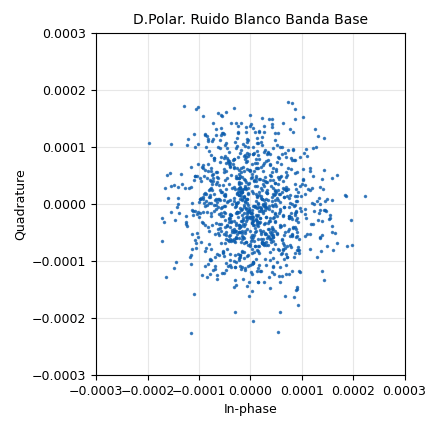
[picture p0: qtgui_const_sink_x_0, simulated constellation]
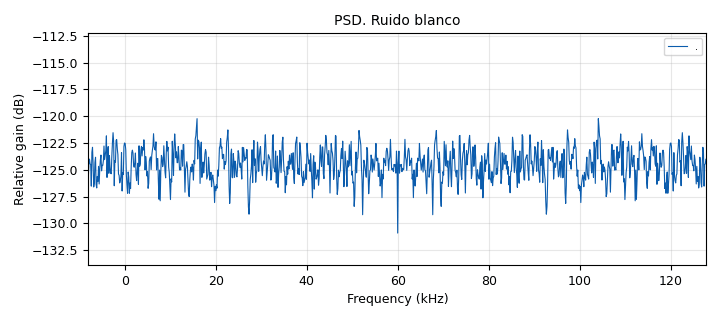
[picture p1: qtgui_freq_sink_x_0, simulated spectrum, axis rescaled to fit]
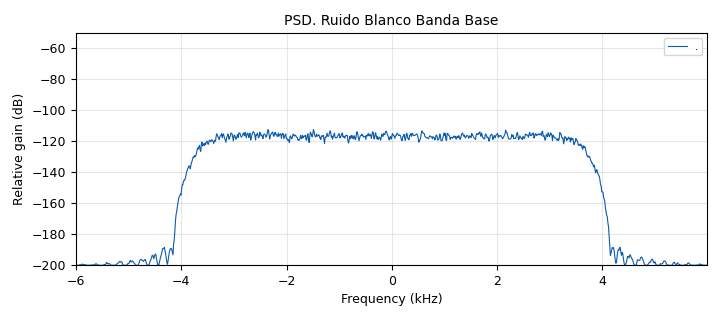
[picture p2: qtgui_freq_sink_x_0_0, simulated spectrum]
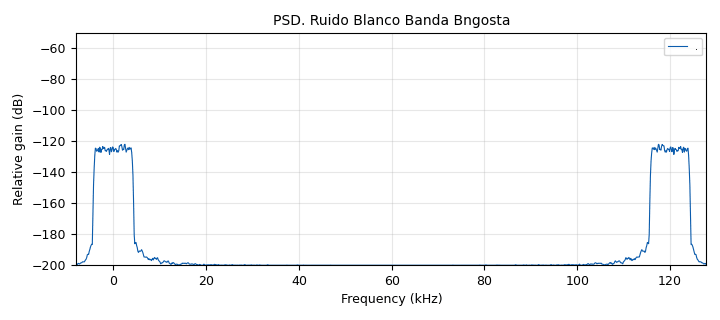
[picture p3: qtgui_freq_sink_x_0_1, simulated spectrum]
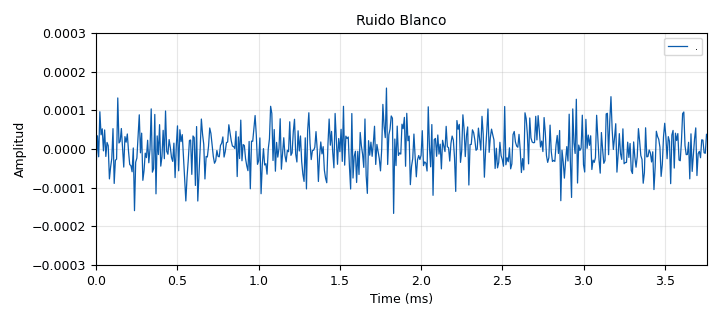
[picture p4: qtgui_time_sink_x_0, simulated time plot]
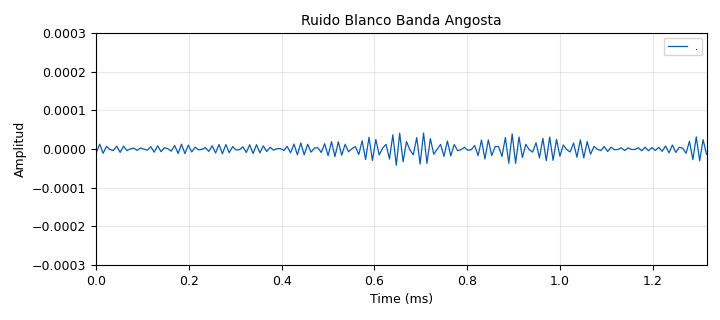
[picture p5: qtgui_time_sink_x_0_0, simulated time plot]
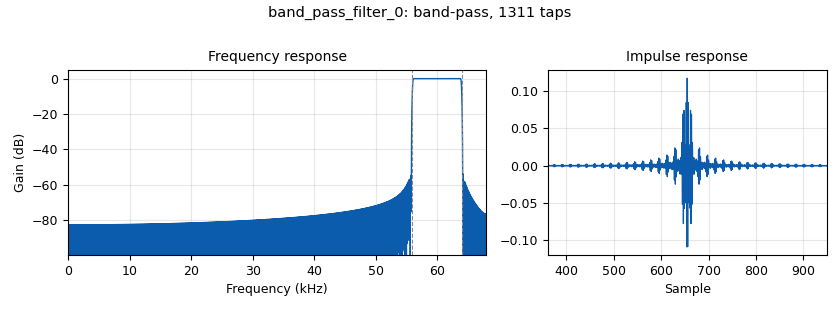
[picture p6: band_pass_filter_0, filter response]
<?xml version='1.0' encoding='utf-8'?>
<?grc format='1' created='3.7.9'?>
<flow_graph>
<block>
<key>options</key>
<param><key>id</key><value>top_block</value></param>
<param><key>category</key><value>Custom</value></param>
<param><key>generate_options</key><value>qt_gui</value></param>
</block>
<block>
<key>variable</key>
<param><key>id</key><value>B</value></param>
<param><key>value</key><value>8000</value></param>
</block>
<block>
<key>variable</key>
<param><key>id</key><value>BW</value></param>
<param><key>value</key><value>B/2</value></param>
</block>
<block>
<key>variable</key>
<param><key>id</key><value>Fc</value></param>
<param><key>value</key><value>60000</value></param>
</block>
<block>
<key>variable</key>
<param><key>id</key><value>Fmax</value></param>
<param><key>value</key><value>Fc+B</value></param>
</block>
<block>
<key>variable</key>
<param><key>id</key><value>Fs</value></param>
<param><key>value</key><value>2*BW</value></param>
</block>
<block>
<key>variable</key>
<param><key>id</key><value>Fs2</value></param>
<param><key>value</key><value>int(Fs*1.5)</value></param>
</block>
<block>
<key>variable</key>
<param><key>id</key><value>Fs_ruido_blanco</value></param>
<param><key>value</key><value>2*Fmax</value></param>
</block>
<block>
<key>variable</key>
<param><key>id</key><value>N</value></param>
<param><key>value</key><value>1024</value></param>
</block>
<block>
<key>variable</key>
<param><key>id</key><value>No</value></param>
<param><key>value</key><value>math.pow(10,No_dB/10.)</value></param>
</block>
<block>
<key>variable</key>
<param><key>id</key><value>No_dB</value></param>
<param><key>value</key><value>-40</value></param>
</block>
<block>
<key>analog_noise_source_x</key>
<param><key>id</key><value>analog_noise_source_x_0</value></param>
<param><key>amp</key><value>No</value></param>
<param><key>noise_type</key><value>analog.GR_GAUSSIAN</value></param>
<param><key>type</key><value>complex</value></param>
<param><key>seed</key><value>0</value></param>
</block>
<block>
<key>analog_noise_source_x</key>
<param><key>id</key><value>analog_noise_source_x_0_0</value></param>
<param><key>amp</key><value>No/2.</value></param>
<param><key>noise_type</key><value>analog.GR_GAUSSIAN</value></param>
<param><key>type</key><value>float</value></param>
<param><key>seed</key><value>0</value></param>
</block>
<block>
<key>band_pass_filter</key>
<param><key>id</key><value>band_pass_filter_0</value></param>
<param><key>decim</key><value>1</value></param>
<param><key>type</key><value>fir_filter_fff</value></param>
<param><key>gain</key><value>1</value></param>
<param><key>high_cutoff_freq</key><value>Fc+BW</value></param>
<param><key>low_cutoff_freq</key><value>Fc-BW</value></param>
<param><key>samp_rate</key><value>Fs_ruido_blanco</value></param>
<param><key>width</key><value>BW/16</value></param>
<param><key>win</key><value>firdes.WIN_HAMMING</value></param>
</block>
<block>
<key>import</key>
<param><key>id</key><value>import_0</value></param>
<param><key>import</key><value>import math</value></param>
</block>
<block>
<key>qtgui_const_sink_x</key>
<param><key>id</key><value>qtgui_const_sink_x_0</value></param>
<param><key>gui_hint</key><value>2,1,1,1</value></param>
<param><key>legend</key><value>False</value></param>
<param><key>label1</key><value>.</value></param>
<param><key>name</key><value>"D.Polar. Ruido Blanco Banda Base"</value></param>
<param><key>size</key><value>1024</value></param>
<param><key>type</key><value>complex</value></param>
<param><key>xmax</key><value>0.0003</value></param>
<param><key>xmin</key><value>-0.0003</value></param>
<param><key>ymax</key><value>0.0003</value></param>
<param><key>ymin</key><value>-0.0003</value></param>
</block>
<block>
<key>qtgui_freq_sink_x</key>
<param><key>id</key><value>qtgui_freq_sink_x_0</value></param>
<param><key>average</key><value>0.05</value></param>
<param><key>bw</key><value>Fs_ruido_blanco</value></param>
<param><key>fc</key><value>Fc</value></param>
<param><key>fftsize</key><value>N</value></param>
<param><key>gui_hint</key><value>0,0,1,1</value></param>
<param><key>label1</key><value>.</value></param>
<param><key>width1</key><value>2</value></param>
<param><key>name</key><value>"PSD. Ruido blanco"</value></param>
<param><key>showports</key><value>True</value></param>
<param><key>type</key><value>float</value></param>
<param><key>wintype</key><value>firdes.WIN_BLACKMAN_hARRIS</value></param>
<param><key>ymax</key><value>-50</value></param>
<param><key>ymin</key><value>-200</value></param>
</block>
<block>
<key>qtgui_freq_sink_x</key>
<param><key>id</key><value>qtgui_freq_sink_x_0_0</value></param>
<param><key>average</key><value>0.05</value></param>
<param><key>bw</key><value>Fs2</value></param>
<param><key>fc</key><value>0</value></param>
<param><key>fftsize</key><value>N</value></param>
<param><key>gui_hint</key><value>2,0,1,1</value></param>
<param><key>label1</key><value>.</value></param>
<param><key>width1</key><value>2</value></param>
<param><key>name</key><value>"PSD. Ruido Blanco Banda Base"</value></param>
<param><key>showports</key><value>True</value></param>
<param><key>type</key><value>complex</value></param>
<param><key>wintype</key><value>firdes.WIN_BLACKMAN_hARRIS</value></param>
<param><key>ymax</key><value>-50</value></param>
<param><key>ymin</key><value>-200</value></param>
</block>
<block>
<key>qtgui_freq_sink_x</key>
<param><key>id</key><value>qtgui_freq_sink_x_0_1</value></param>
<param><key>average</key><value>0.05</value></param>
<param><key>bw</key><value>Fs_ruido_blanco</value></param>
<param><key>fc</key><value>Fc</value></param>
<param><key>fftsize</key><value>N</value></param>
<param><key>gui_hint</key><value>1,0,1,1</value></param>
<param><key>label1</key><value>.</value></param>
<param><key>width1</key><value>2</value></param>
<param><key>name</key><value>"PSD. Ruido Blanco Banda Bngosta"</value></param>
<param><key>showports</key><value>True</value></param>
<param><key>type</key><value>float</value></param>
<param><key>wintype</key><value>firdes.WIN_BLACKMAN_hARRIS</value></param>
<param><key>ymax</key><value>-50</value></param>
<param><key>ymin</key><value>-200</value></param>
</block>
<block>
<key>qtgui_time_sink_x</key>
<param><key>id</key><value>qtgui_time_sink_x_0</value></param>
<param><key>gui_hint</key><value>0,1,1,1</value></param>
<param><key>color1</key><value>"blue"</value></param>
<param><key>label1</key><value>.</value></param>
<param><key>width1</key><value>2</value></param>
<param><key>name</key><value>"Ruido Blanco"</value></param>
<param><key>size</key><value>512</value></param>
<param><key>srate</key><value>Fs_ruido_blanco</value></param>
<param><key>type</key><value>float</value></param>
<param><key>ylabel</key><value>Amplitud</value></param>
<param><key>ymax</key><value>0.0003</value></param>
<param><key>ymin</key><value>-0.0003</value></param>
</block>
<block>
<key>qtgui_time_sink_x</key>
<param><key>id</key><value>qtgui_time_sink_x_0_0</value></param>
<param><key>gui_hint</key><value>1,1,1,1</value></param>
<param><key>color1</key><value>"blue"</value></param>
<param><key>label1</key><value>.</value></param>
<param><key>width1</key><value>2</value></param>
<param><key>name</key><value>"Ruido Blanco Banda Angosta"</value></param>
<param><key>size</key><value>180</value></param>
<param><key>srate</key><value>Fs_ruido_blanco</value></param>
<param><key>type</key><value>float</value></param>
<param><key>ylabel</key><value>Amplitud</value></param>
<param><key>ymax</key><value>0.0003</value></param>
<param><key>ymin</key><value>-0.0003</value></param>
</block>
<block>
<key>rational_resampler_xxx</key>
<param><key>id</key><value>rational_resampler_xxx_0</value></param>
<param><key>decim</key><value>Fs</value></param>
<param><key>interp</key><value>Fs2</value></param>
<param><key>taps</key><value></value></param>
<param><key>type</key><value>ccc</value></param>
</block>
<connection><source_block_id>analog_noise_source_x_0</source_block_id><sink_block_id>rational_resampler_xxx_0</sink_block_id><source_key>0</source_key><sink_key>0</sink_key></connection>
<connection><source_block_id>analog_noise_source_x_0_0</source_block_id><sink_block_id>band_pass_filter_0</sink_block_id><source_key>0</source_key><sink_key>0</sink_key></connection>
<connection><source_block_id>analog_noise_source_x_0_0</source_block_id><sink_block_id>qtgui_freq_sink_x_0</sink_block_id><source_key>0</source_key><sink_key>0</sink_key></connection>
<connection><source_block_id>analog_noise_source_x_0_0</source_block_id><sink_block_id>qtgui_time_sink_x_0</sink_block_id><source_key>0</source_key><sink_key>0</sink_key></connection>
<connection><source_block_id>band_pass_filter_0</source_block_id><sink_block_id>qtgui_freq_sink_x_0_1</sink_block_id><source_key>0</source_key><sink_key>0</sink_key></connection>
<connection><source_block_id>band_pass_filter_0</source_block_id><sink_block_id>qtgui_time_sink_x_0_0</sink_block_id><source_key>0</source_key><sink_key>0</sink_key></connection>
<connection><source_block_id>rational_resampler_xxx_0</source_block_id><sink_block_id>qtgui_const_sink_x_0</sink_block_id><source_key>0</source_key><sink_key>0</sink_key></connection>
<connection><source_block_id>rational_resampler_xxx_0</source_block_id><sink_block_id>qtgui_freq_sink_x_0_0</sink_block_id><source_key>0</source_key><sink_key>0</sink_key></connection>
</flow_graph>
